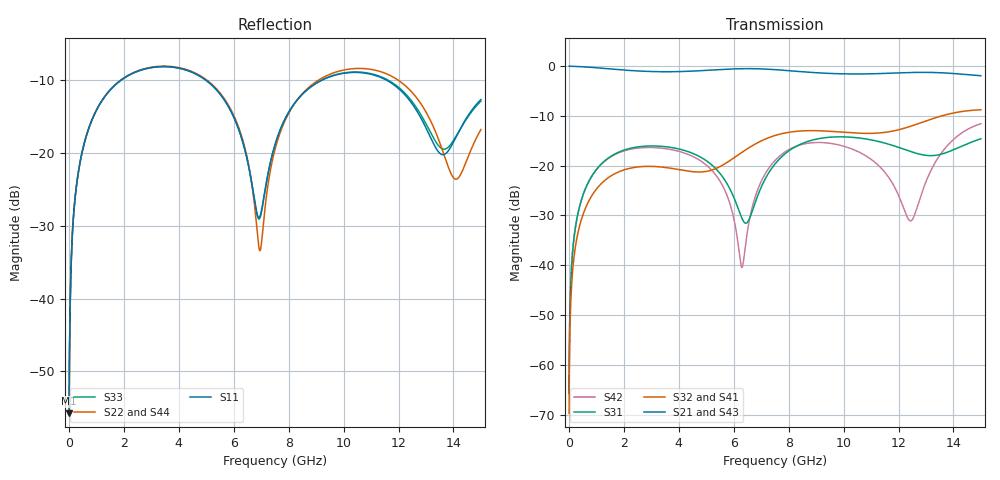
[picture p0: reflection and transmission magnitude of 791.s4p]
! Created with skrf 1.8.0 (http://scikit-rf.org).
# GHz S RI R 50.0
!freq ReS11 ImS11 ReS12 ImS12 ReS13 ImS13
! ReS14 ImS14
! ReS21 ImS21 ReS22 ImS22 ReS23 ImS23
! ReS24 ImS24
! ReS31 ImS31 ReS32 ImS32 ReS33 ImS33
! ReS34 ImS34
! ReS41 ImS41 ReS42 ImS42 ReS43 ImS43
! ReS44 ImS44
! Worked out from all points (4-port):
!   2499 points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, 5 MHz to 15 GHz, reference 50 ohm
!   strongest paths, dB at 5 MHz, 3.476 GHz, 7.19 GHz, 11.1 GHz, 15 GHz:
!     S21: 0.0, -1.1, -0.6, -1.5, -1.9
!     S43: 0.0, -1.1, -0.6, -1.6, -1.9
!     S32: -69.7, -20.3, -14.6, -13.5, -8.8
!     S41: -69.7, -20.4, -14.6, -13.6, -8.8
!     S31: -65.8, -16.2, -22.2, -14.9, -14.6
!     S42: -65.8, -16.5, -21.2, -19.1, -11.6
!   lowest |S11| = -55.8 dB at 5 MHz (marker M1), VSWR 1.00, Z = 50.1 + j0.099 ohm
!   |S11| at or under -10 dB: start of sweep to 1.886 GHz; 4.996 GHz to 9.194 GHz (4.198 GHz wide, 59.2 % of centre); 11.58 GHz to end of sweep
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0.005  0.0013 0.000987  0.9987 -0.00253  6.42e-05 0.000511  -6.23e-05 -0.00032
       0.9987 -0.00253  0.0013 0.000987  -6.23e-05 -0.00032  6.4e-05 0.000511
       6.42e-05 0.000511  -6.23e-05 -0.00032  0.0013 0.000987  0.9987 -0.00253
       -6.23e-05 -0.00032  6.4e-05 0.000511  0.9987 -0.00253  0.0013 0.000987
0.4126719  0.0246 0.0848  0.9659 -0.2064  0.012 0.0397  -0.00968 -0.0246
           0.9659 -0.2064  0.0247 0.0848  -0.00969 -0.0246  0.0113 0.0399
           0.012 0.0397  -0.00969 -0.0246  0.0246 0.0848  0.9659 -0.2064
           -0.00968 -0.0246  0.0113 0.0399  0.9659 -0.2064  0.0247 0.0848
1.975823  0.2705 0.1802  0.5457 -0.7336  0.1317 0.0546  -0.0899 -0.00563
          0.5457 -0.7336  0.2732 0.1785  -0.09 -0.00547  0.1233 0.066
          0.1317 0.0546  -0.09 -0.00547  0.2705 0.1803  0.5456 -0.7336
          -0.0899 -0.00563  0.1233 0.066  0.5456 -0.7336  0.2733 0.1784
6.296373  0.0663 -0.1061  -0.8779 -0.3411  -0.0255 -0.0153  -0.046 0.1281
          -0.8779 -0.3411  0.0545 -0.1168  -0.0439 0.1289  0.00927 0.00206
          -0.0255 -0.0153  -0.0439 0.1289  0.066 -0.1062  -0.878 -0.3409
          -0.046 0.1281  0.00927 0.00206  -0.878 -0.3409  0.055 -0.1167
6.902876  0.0359 -0.00413  -0.9368 -0.0705  -0.0109 0.0513  -0.00995 0.1716
          -0.9368 -0.0705  0.021 -0.0105  -0.00734 0.1718  0.0157 0.0583
          -0.0109 0.0513  -0.00734 0.1718  0.0351 -0.00402  -0.9368 -0.0702
          -0.00995 0.1716  0.0157 0.0583  -0.9368 -0.0702  0.022 -0.0101
10.96082  0.3457 -0.0526  0.0852 0.8322  0.1001 -0.1526  0.1967 -0.0699
          0.0852 0.8322  0.3704 -0.0719  0.1967 -0.0766  0.1132 -0.0334
          0.1001 -0.1526  0.1967 -0.0766  0.3494 -0.048  0.0855 0.8305
          0.1967 -0.0699  0.1132 -0.0334  0.0855 0.8305  0.3747 -0.077
15  0.2055 0.1103  0.7509 -0.2783  0.0763 0.17  -0.1637 -0.3242
    0.7509 -0.2783  0.1228 0.0775  -0.1749 -0.3194  0.2115 0.1581
    0.0763 0.17  -0.1749 -0.3194  0.205 0.0991  0.7523 -0.2777
    -0.1637 -0.3242  0.2115 0.1581  0.7523 -0.2777  0.1194 0.0734
